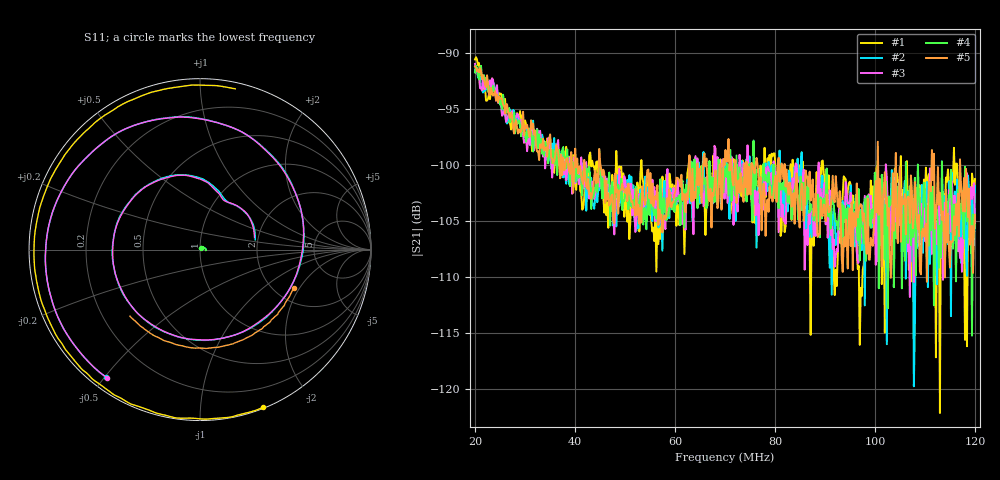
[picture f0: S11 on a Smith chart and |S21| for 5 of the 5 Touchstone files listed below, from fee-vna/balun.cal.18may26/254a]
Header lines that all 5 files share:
! Anritsu VNA Master:  Model: MS2036C/10/77
! SN:  1601066
! Existing Calibration Information:
! TYPE:  Current Settings,  Active Cal Settings
! # POINTS:  500,  500
! START FREQ:  20.000 MHz,  20.000 MHz
! STOP FREQ:  120.000 MHz,  120.000 MHz
! SOURCE POWER:  High,  High
! IFBW:  50 Hz,  50 Hz
! AVG FACTOR:  1 ,  1
! REF PLANE 1:  0 mm,  0 mm
! REF PLANE 2:  0 mm,  0 mm
! CAL TYPE:  Full S11,  Full S11
! CAL METHOD:  SOLT,  SOLT
! CAL LINE TYPE:  Coax,  Coax
! DUT PORT 1:  K-Conn(M),  K-Conn(M)
! DUT PORT 2:  K-Conn(M),  K-Conn(M)
! CAL STATUS:  OK: Accuracy High,  --
# GHZ S DB R 50.0
! FREQ.GHZ  S11DB  S11A  S21DB  S21A  S12DB  S12A  S22DB  S22A
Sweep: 20 MHz to 120 MHz
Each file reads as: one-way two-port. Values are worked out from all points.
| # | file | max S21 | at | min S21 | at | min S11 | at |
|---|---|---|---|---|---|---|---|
| 1 | 4a.66.2-3.s2p | -90.42 dB | 20.2 MHz | -122.2 dB | 113 MHz | -0.4 dB | 105.6 MHz |
| 2 | 4a.m.2.s2p | -91.31 dB | 20.2 MHz | -119.8 dB | 107.8 MHz | -9.8 dB | 107 MHz |
| 3 | 4a.m.3.s2p | -91.01 dB | 20 MHz | -111.8 dB | 107 MHz | -9.9 dB | 105.6 MHz |
| 4 | 4a.r50.1-2.s2p | -91.17 dB | 20.2 MHz | -115.3 dB | 119.4 MHz | -39.3 dB | 20 MHz |
| 5 | 4a.r200.2-3.s2p | -91.26 dB | 20 MHz | -110.5 dB | 110.4 MHz | -5.0 dB | 116.2 MHz |
